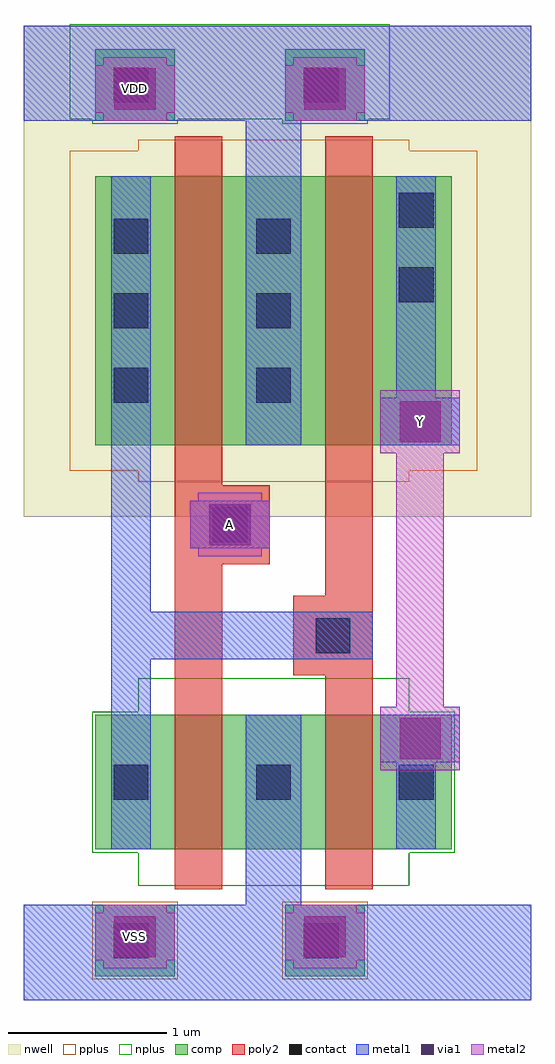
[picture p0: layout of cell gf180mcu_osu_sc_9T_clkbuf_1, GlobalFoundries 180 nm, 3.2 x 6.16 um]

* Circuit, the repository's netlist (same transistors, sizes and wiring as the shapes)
* Copyright 2022 Google LLC
*
* Licensed under the Apache License, Version 2.0 (the "License");
* you may not use this file except in compliance with the License.
* You may obtain a copy of the License at
*
*      http://www.apache.org/licenses/LICENSE-2.0
*
* Unless required by applicable law or agreed to in writing, software
* distributed under the License is distributed on an "AS IS" BASIS,
* WITHOUT WARRANTIES OR CONDITIONS OF ANY KIND, either express or implied.
* See the License for the specific language governing permissions and
* limitations under the License.

.option scale=0.05u

.subckt gf180mcu_osu_sc_9T_clkbuf_1 A Y
X0 VSS A a_9_19 VSS nmos_3p3 w=17 l=6
X1 VDD A a_9_19 VDD pmos_3p3 w=34 l=6
X2 Y a_9_19 VSS VSS nmos_3p3 w=17 l=6
X3 Y a_9_19 VDD VDD pmos_3p3 w=34 l=6
.ends

** hspice subcircuit dictionary

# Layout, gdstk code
import gdstk
lib = gdstk.Library(unit=1e-6, precision=1e-09)
def R(c, l, rs):  # rectangles x0, y0, x1, y1
    for r in rs: c.add(gdstk.rectangle(r[:2], r[2:], *l))
def A(c, l, x, y, w, h, nx, ny, dx, dy):  # array of equal rectangles
    R(c, l, [(x+i*dx, y+j*dy, x+i*dx+w, y+j*dy+h) for i in range(nx) for j in range(ny)])
nwell = (21, 0)
comp = (22, 0)
poly2 = (30, 0)
pplus = (31, 0)
nplus = (32, 0)
contact = (33, 0)
metal1 = (34, 0)
via1 = (35, 0)
metal2 = (36, 0)

gf180mcu_osu_sc_9t_clkbu = lib.new_cell('gf180mcu_osu_sc_9T_clkbuf_1')
R(gf180mcu_osu_sc_9t_clkbu, nwell, [(0,3.05,3.2,6.15)])
R(gf180mcu_osu_sc_9t_clkbu, comp, [(0.45,0.15,0.95,0.6), (1.65,0.15,2.15,0.6), (0.45,0.95,2.7,1.8), (0.45,3.5,2.7,5.2), (0.45,5.55,0.95,6), (1.65,5.55,2.15,6)])
R(gf180mcu_osu_sc_9t_clkbu, poly2, [(0.95,0.7,1.25,2.75), (1.9,0.7,2.2,2.05), (1.7,2.05,2.2,2.55), (1.9,2.55,2.2,5.45), (0.95,2.75,1.55,3.25), (0.95,3.25,1.25,5.45)])
R(gf180mcu_osu_sc_9t_clkbu, pplus, [(0.43,0.13,0.97,0.62), (1.63,0.13,2.17,0.62), (0.72,3.27,2.43,3.34), (0.29,3.34,2.86,5.36), (0.72,5.36,2.43,5.43)])
R(gf180mcu_osu_sc_9t_clkbu, nplus, [(0.72,0.72,2.43,0.93), (0.43,0.93,2.72,1.82), (0.72,1.82,2.43,2.03), (0.43,5.53,0.97,5.56), (1.63,5.53,2.17,5.56), (0.29,5.56,2.31,6.16)])
A(gf180mcu_osu_sc_9t_clkbu, contact, 0.565, 1.265, 0.22, 0.22, 3, 1, 0.9, 0)
A(gf180mcu_osu_sc_9t_clkbu, contact, 0.565, 3.77, 0.22, 0.22, 1, 3, 0, 0.47)
A(gf180mcu_osu_sc_9t_clkbu, contact, 1.465, 3.77, 0.22, 0.22, 1, 3, 0, 0.47)
R(gf180mcu_osu_sc_9t_clkbu, contact, [(0.565,0.265,0.785,0.485), (1.765,0.265,1.985,0.485), (1.84,2.19,2.06,2.41), (1.19,2.89,1.41,3.11), (2.365,4.405,2.585,4.625), (2.365,4.875,2.585,5.095), (0.565,5.665,0.785,5.885), (1.765,5.665,1.985,5.885)])
R(gf180mcu_osu_sc_9t_clkbu, metal1, [(0,0,3.2,0.6), (1.4,0.6,1.75,1.8), (0.55,0.95,0.8,2.15), (2.35,0.95,2.6,1.5), (2.25,1.5,2.75,1.8), (0.55,2.15,2.2,2.45), (0.55,2.45,0.8,5.2), (1.05,2.85,1.55,3.15), (1.4,3.5,1.75,5.55), (2.25,3.5,2.75,3.8), (2.35,3.8,2.6,5.2), (0,5.55,3.2,6.15)])
R(gf180mcu_osu_sc_9t_clkbu, via1, [(0.57,0.27,0.83,0.53), (1.77,0.27,2.03,0.53), (2.37,1.52,2.63,1.78), (1.17,2.87,1.43,3.13), (2.37,3.52,2.63,3.78), (0.57,5.62,0.83,5.88), (1.77,5.62,2.03,5.88)])
R(gf180mcu_osu_sc_9t_clkbu, metal2, [(0.5,0.2,0.9,0.25), (1.7,0.2,2.1,0.25), (0.45,0.25,0.95,0.55), (1.65,0.25,2.15,0.55), (0.5,0.55,0.9,0.6), (1.7,0.55,2.1,0.6), (2.25,1.45,2.75,1.85), (2.35,1.85,2.65,3.45), (1.1,2.8,1.5,2.85), (1.05,2.85,1.55,3.15), (1.1,3.15,1.5,3.2), (2.25,3.45,2.75,3.85), (0.5,5.55,0.9,5.6), (1.7,5.55,2.1,5.6), (0.45,5.6,0.95,5.9), (1.65,5.6,2.15,5.9), (0.5,5.9,0.9,5.95), (1.7,5.9,2.1,5.95)])
gf180mcu_osu_sc_9t_clkbu.add(gdstk.Label('VDD', (0.7,5.75), layer=36, texttype=0))
gf180mcu_osu_sc_9t_clkbu.add(gdstk.Label('VSS', (0.7,0.4), layer=36, texttype=0))
gf180mcu_osu_sc_9t_clkbu.add(gdstk.Label('A', (1.3,3), layer=36, texttype=10))
gf180mcu_osu_sc_9t_clkbu.add(gdstk.Label('Y', (2.5,3.65), layer=36, texttype=10))

lib.write_gds('gf180mcu_osu_sc_9T_clkbuf_1.gds')
